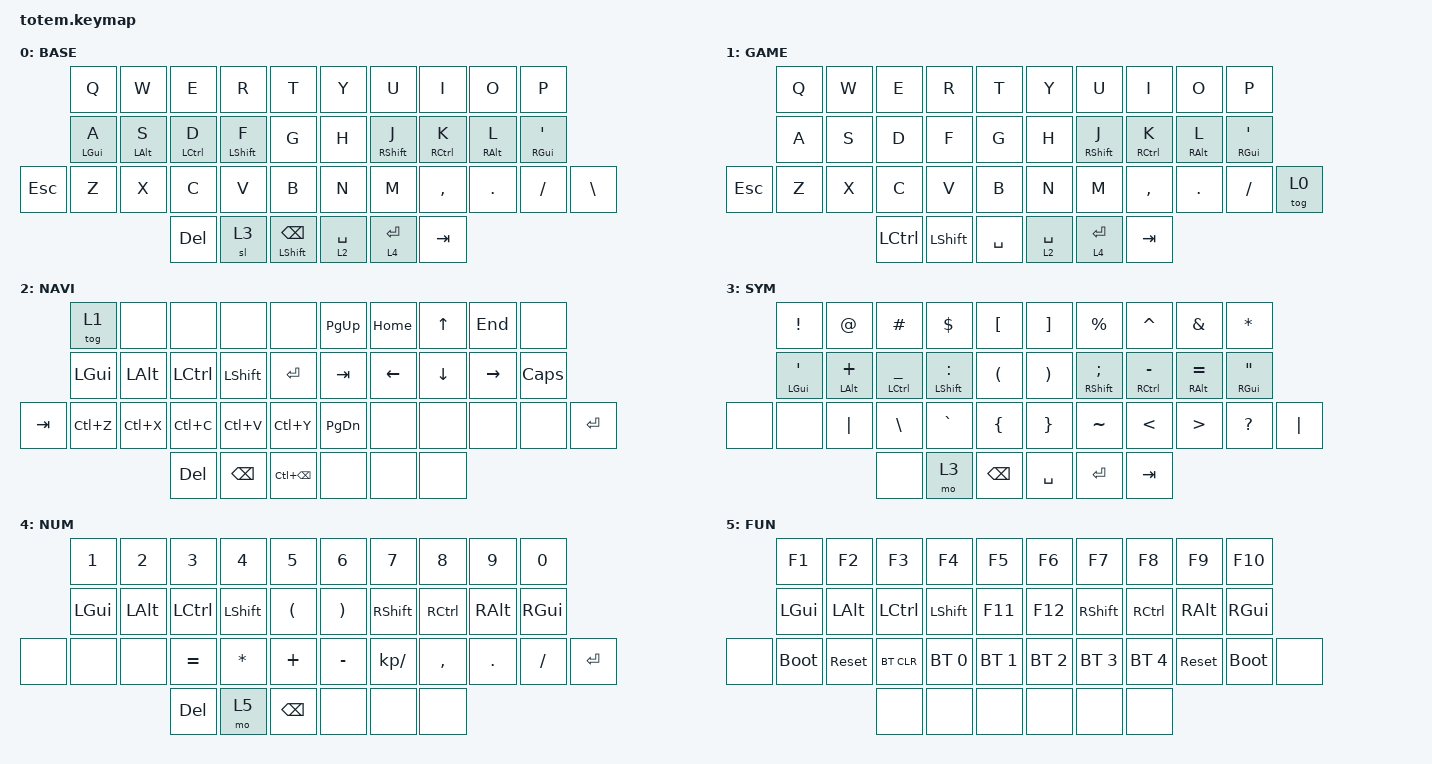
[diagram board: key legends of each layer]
//
//                                                        ▀▀▀▀▀     ▀▀▀▀▀          ▀▀█▀▀
//                                                        ▄▀▀▀▄  ▄  ▄▀▀▀▄  ▄  ▄▀▀▀▄  █  ▄▀▀▀▄
//                                                        █   █  █  █   █  █  █   █  █  █   █
//                                                         ▀▀▀   █   ▀▀▀   █   ▀▀▀   ▀   ▀▀▀
//                                                               █      ▄▄▄█▄▄▄    █   █  
//                                                               ▀      █  █  █     █▄█
//                                                             ▀▀▀▀▀    █  █  █      ▀
//                                                                      ▀  ▀  ▀
//
// ▄▄▄▄▄▄▄▄▄▄▄▄▄▄▄▄▄▄▄▄▄▄▄▄▄▄▄▄▄▄▄▄▄▄▄▄▄▄▄▄▄▄▄▄▄▄▄▄▄▄▄▄▄▄▄▄▄▄▄▄▄▄▄▄▄▄▄▄▄▄▄▄▄▄▄▄▄▄▄▄▄▄▄▄▄▄▄▄▄▄▄▄▄▄▄▄▄▄▄▄▄▄▄▄▄▄▄▄▄▄▄▄▄▄▄▄▄▄▄▄▄▄▄▄▄▄▄▄▄▄▄▄▄▄▄▄▄▄▄▄▄▄▄▄▄▄▄▄▄

#include <behaviors.dtsi>
#include <dt-bindings/zmk/bt.h>
#include <dt-bindings/zmk/keys.h>

#define BASE 0
#define NAV  1
#define SYM  2
#define ADJ  3
#define TVP1 4
#define TVP2 5

&lt {
    quick-tap-ms = <150>;
    flavor = "balanced";
    tapping-term-ms = <250>;
};

/ {
    combos { compatible = "zmk,combos"; };

    behaviors {
        left_hrm: left_hrm {
            compatible = "zmk,behavior-hold-tap";
            label = "LEFT_HRM";
            bindings = <&kp>, <&kp>;

            #binding-cells = <2>;
            tapping-term-ms = <280>;
            quick-tap-ms = <175>;
            require-prior-idle-ms = <200>;
            flavor = "balanced";
            hold-trigger-key-positions = <32 33 34 35 36 37 5 6 7 8 9 15 16 17 18 19 26 27 28 29 30 31 35 36 37>;
            hold-trigger-on-release;
        };

        right_hrm: right_hrm {
            compatible = "zmk,behavior-hold-tap";
            label = "RIGHT_HRM";
            bindings = <&kp>, <&kp>;

            #binding-cells = <2>;
            tapping-term-ms = <280>;
            quick-tap-ms = <175>;
            require-prior-idle-ms = <200>;
            flavor = "balanced";
            hold-trigger-on-release;
            hold-trigger-key-positions = <32 33 34 35 36 37 0 1 2 3 4 10 11 12 13 14 22 23 24 25 21 20>;
        };
    };

    keymap {
        compatible = "zmk,keymap";

        // ▄▄▄▄▄▄▄▄▄▄▄▄▄▄▄▄▄▄▄▄▄▄▄▄▄▄▄▄▄▄▄▄▄▄▄▄▄▄▄▄▄▄▄▄▄▄▄▄▄▄▄▄▄▄▄▄▄▄▄▄▄▄▄▄▄▄▄▄▄▄▄▄▄▄▄▄▄▄▄▄▄▄▄▄▄▄▄▄▄▄▄▄▄▄▄▄▄▄▄▄▄▄▄▄▄▄▄▄▄▄▄▄▄▄▄▄▄▄▄▄▄▄▄▄▄▄▄▄▄▄▄▄▄▄▄▄▄▄▄▄▄▄▄▄▄▄▄▄▄

        base_layer {
            // ┏━━━━━━━━━━━━━━━━━━━━━━━━━━━━━━━━━━━━━━━┓

            label = "BASE";

            // ┗━━━━━━━━━━━━━━━━━━━━━━━━━━━━━━━━━━━━━━━┛
            //             ┏━━━━━━━━━━━┳━━━━━━━━━━━┳━━━━━━━━━━━┳━━━━━━━━━━━┳━━━━━━━━━━━┓   ┏━━━━━━━━━━━┳━━━━━━━━━━━┳━━━━━━━━━━━┳━━━━━━━━━━━┳━━━━━━━━━━━┓
            //             ┃     Q     ┃     W     ┃     F     ┃     P     ┃     G     ┃   ┃     J     ┃     L     ┃     U     ┃     Y     ┃     ;     ┃
            //             ┣━━━━━━━━━━━╋━━━━━━━━━━━╋━━━━━━━━━━━╋━━━━━━━━━━━╋━━━━━━━━━━━┫   ┣━━━━━━━━━━━╋━━━━━━━━━━━╋━━━━━━━━━━━╋━━━━━━━━━━━╋━━━━━━━━━━━┫
            //             ┃     A     ┃     R     ┃     S     ┃     T     ┃     D     ┃   ┃     H     ┃     N     ┃     E     ┃     I     ┃     O     ┃
            // ┏━━━━━━━━━━━╋━━━━━━━━━━━╋━━━━━━━━━━━╋━━━━━━━━━━━╋━━━━━━━━━━━╋━━━━━━━━━━━┫   ┣━━━━━━━━━━━╋━━━━━━━━━━━╋━━━━━━━━━━━╋━━━━━━━━━━━╋━━━━━━━━━━━╋━━━━━━━━━━━┓
            // ┃     Q     ┃     Z     ┃     X     ┃     C     ┃     V     ┃     B     ┃   ┃     K     ┃     M     ┃     ,     ┃     .     ┃     /     ┃     \     ┃
            // ┗━━━━━━━━━━━┻━━━━━━━━━━━┻━━━━━━━━━━━╋━━━━━━━━━━━╋━━━━━━━━━━━╋━━━━━━━━━━━┫   ┣━━━━━━━━━━━╋━━━━━━━━━━━╋━━━━━━━━━━━╋━━━━━━━━━━━┻━━━━━━━━━━━┻━━━━━━━━━━━┛
            //                                     ┃    DEL    ┃    TAB    ┃    SPC    ┃   ┃   ENTER   ┃           ┃   BSPC    ┃
            //                                     ┗━━━━━━━━━━━┻━━━━━━━━━━━┻━━━━━━━━━━━┛   ┗━━━━━━━━━━━┻━━━━━━━━━━━┻━━━━━━━━━━━┛

            bindings = <
            &kp Q             &kp W             &kp E              &kp R              &kp T                       &kp Y        &kp U               &kp I               &kp O              &kp P
            &left_hrm LGUI A  &left_hrm LALT S  &left_hrm LCTRL D  &left_hrm LSHFT F  &kp G                       &kp H        &right_hrm RSHFT J  &right_hrm RCTRL K  &right_hrm RALT L  &right_hrm RGUI SQT
&kp ESCAPE  &kp Z             &kp X             &kp C              &kp V              &kp B                       &kp N        &kp M               &kp COMMA           &kp DOT            &kp FSLH             &kp BSLH
                                                &kp DEL            &sl 3              &mt LEFT_SHIFT BACKSPACE    &lt 2 SPACE  &lt 4 ENTER         &kp TAB
            >;
        };

        gaming {
            label = "GAME";
            bindings = <
            &kp Q  &kp W  &kp E      &kp R      &kp T        &kp Y        &kp U               &kp I               &kp O              &kp P
            &kp A  &kp S  &kp D      &kp F      &kp G        &kp H        &right_hrm RSHFT J  &right_hrm RCTRL K  &right_hrm RALT L  &right_hrm RGUI SQT
&kp ESCAPE  &kp Z  &kp X  &kp C      &kp V      &kp B        &kp N        &kp M               &kp COMMA           &kp DOT            &kp FSLH             &tog 0
                          &kp LCTRL  &kp LSHFT  &kp SPACE    &lt 2 SPACE  &lt 4 ENTER         &kp TAB
            >;
        };

        nav_layer {
            // ┏━━━━━━━━━━━━━━━━━━━━━━━━━━━━━━━━━━━━━━━┓

            label = "NAVI";

            // ┗━━━━━━━━━━━━━━━━━━━━━━━━━━━━━━━━━━━━━━━┛
            //             ┏━━━━━━━━━━━┳━━━━━━━━━━━┳━━━━━━━━━━━┳━━━━━━━━━━━┳━━━━━━━━━━━┓   ┏━━━━━━━━━━━┳━━━━━━━━━━━┳━━━━━━━━━━━┳━━━━━━━━━━━┳━━━━━━━━━━━┓
            //             ┃           ┃           ┃     UP    ┃           ┃     {     ┃   ┃     }     ┃     7     ┃     8     ┃     9     ┃     +     ┃
            //             ┣━━━━━━━━━━━╋━━━━━━━━━━━╋━━━━━━━━━━━╋━━━━━━━━━━━╋━━━━━━━━━━━┫   ┣━━━━━━━━━━━╋━━━━━━━━━━━╋━━━━━━━━━━━╋━━━━━━━━━━━╋━━━━━━━━━━━┫
            //             ┃   SHIFT   ┃   LEFT    ┃    DOWN   ┃   RIGHT   ┃     [     ┃   ┃     ]     ┃     4     ┃     5     ┃     6     ┃     -     ┃
            // ┏━━━━━━━━━━━╋━━━━━━━━━━━╋━━━━━━━━━━━╋━━━━━━━━━━━╋━━━━━━━━━━━╋━━━━━━━━━━━┫   ┣━━━━━━━━━━━╋━━━━━━━━━━━╋━━━━━━━━━━━╋━━━━━━━━━━━╋━━━━━━━━━━━╋━━━━━━━━━━━┓
            // ┃           ┃           ┃   P UP    ┃  C LOCK   ┃  P DOWN   ┃     (     ┃   ┃     )     ┃     1     ┃     2     ┃     3     ┃     *     ┃           ┃
            // ┗━━━━━━━━━━━┻━━━━━━━━━━━┻━━━━━━━━━━━╋━━━━━━━━━━━╋━━━━━━━━━━━╋━━━━━━━━━━━┫   ┣━━━━━━━━━━━╋━━━━━━━━━━━╋━━━━━━━━━━━╋━━━━━━━━━━━┻━━━━━━━━━━━┻━━━━━━━━━━━┛
            //                                     ┃           ┃    TAB    ┃    SPC    ┃   ┃    DEL    ┃     0     ┃           ┃
            //                                     ┗━━━━━━━━━━━┻━━━━━━━━━━━┻━━━━━━━━━━━┛   ┗━━━━━━━━━━━┻━━━━━━━━━━━┻━━━━━━━━━━━┛

            bindings = <
         &tog 1        &none         &none       &none           &none                &kp PG_UP  &kp HOME  &kp UP_ARROW  &kp END    &none
         &kp LEFT_GUI  &kp LEFT_ALT  &kp LCTRL   &kp LEFT_SHIFT  &kp ENTER            &kp TAB    &kp LEFT  &kp DOWN      &kp RIGHT  &kp CAPS
&kp TAB  &kp LC(Z)     &kp LC(X)     &kp LC(C)   &kp LC(V)       &kp LC(Y)            &kp PG_DN  &none     &none         &none      &none     &kp ENTER
                                     &kp DELETE  &kp BACKSPACE   &kp LC(BACKSPACE)    &none      &none     &none
            >;
        };

        sim_layer {
            // ┏━━━━━━━━━━━━━━━━━━━━━━━━━━━━━━━━━━━━━━━┓

            label = "SYM";

            // ┗━━━━━━━━━━━━━━━━━━━━━━━━━━━━━━━━━━━━━━━┛
            //             ┏━━━━━━━━━━━┳━━━━━━━━━━━┳━━━━━━━━━━━┳━━━━━━━━━━━┳━━━━━━━━━━━┓   ┏━━━━━━━━━━━┳━━━━━━━━━━━┳━━━━━━━━━━━┳━━━━━━━━━━━┳━━━━━━━━━━━┓
            //             ┃     !     ┃     @     ┃     #     ┃     $     ┃     %     ┃   ┃     ˆ     ┃     &     ┃     Ü     ┃     '     ┃     "     ┃
            //             ┣━━━━━━━━━━━╋━━━━━━━━━━━╋━━━━━━━━━━━╋━━━━━━━━━━━╋━━━━━━━━━━━┫   ┣━━━━━━━━━━━╋━━━━━━━━━━━╋━━━━━━━━━━━╋━━━━━━━━━━━╋━━━━━━━━━━━┫
            //             ┃     Ä     ┃           ┃    SZ     ┃           ┃           ┃   ┃   MUTE    ┃   YEN     ┃   EURO    ┃  POUND    ┃     Ö     ┃
            // ┏━━━━━━━━━━━╋━━━━━━━━━━━╋━━━━━━━━━━━╋━━━━━━━━━━━╋━━━━━━━━━━━╋━━━━━━━━━━━┫   ┣━━━━━━━━━━━╋━━━━━━━━━━━╋━━━━━━━━━━━╋━━━━━━━━━━━╋━━━━━━━━━━━╋━━━━━━━━━━━┓
            // ┃           ┃  EMAIL1   ┃  EMAIL2   ┃           ┃           ┃           ┃   ┃   VOL-    ┃   VOL+    ┃   LAST    ┃   NEXT    ┃     \     ┃           ┃
            // ┗━━━━━━━━━━━┻━━━━━━━━━━━┻━━━━━━━━━━━╋━━━━━━━━━━━╋━━━━━━━━━━━╋━━━━━━━━━━━┫   ┣━━━━━━━━━━━╋━━━━━━━━━━━╋━━━━━━━━━━━╋━━━━━━━━━━━┻━━━━━━━━━━━┻━━━━━━━━━━━┛
            //                                     ┃           ┃    GIF    ┃    ADJ    ┃   ┃           ┃           ┃           ┃
            //                                     ┗━━━━━━━━━━━┻━━━━━━━━━━━┻━━━━━━━━━━━┛   ┗━━━━━━━━━━━┻━━━━━━━━━━━┻━━━━━━━━━━━┛

            bindings = <
       &kp EXCL                &kp AT                   &kp HASH                    &kp DLLR                    &kp LEFT_BRACKET        &kp RIGHT_BRACKET      &kp PERCENT                       &kp CARET               &kp AMPERSAND               &kp ASTERISK
       &left_hrm LEFT_GUI SQT  &left_hrm LEFT_ALT PLUS  &left_hrm LCTRL UNDERSCORE  &left_hrm LEFT_SHIFT COLON  &kp LEFT_PARENTHESIS    &kp RIGHT_PARENTHESIS  &right_hrm RIGHT_SHIFT SEMICOLON  &right_hrm RCTRL MINUS  &right_hrm RIGHT_ALT EQUAL  &right_hrm RIGHT_GUI DOUBLE_QUOTES
&none  &none                   &kp PIPE                 &kp BACKSLASH               &kp GRAVE                   &kp LEFT_BRACE          &kp RIGHT_BRACE        &kp TILDE                         &kp LESS_THAN           &kp GREATER_THAN            &kp QUESTION                        &kp PIPE
                                                        &none                       &mo 3                       &kp BACKSPACE           &kp SPACE              &kp ENTER                         &kp TAB
            >;
        };

        num_layer {
            // ┏━━━━━━━━━━━━━━━━━━━━━━━━━━━━━━━━━━━━━━━┓

            label = "NUM";

            // ┗━━━━━━━━━━━━━━━━━━━━━━━━━━━━━━━━━━━━━━━┛
            //             ┏━━━━━━━━━━━┳━━━━━━━━━━━┳━━━━━━━━━━━┳━━━━━━━━━━━┳━━━━━━━━━━━┓   ┏━━━━━━━━━━━┳━━━━━━━━━━━┳━━━━━━━━━━━┳━━━━━━━━━━━┳━━━━━━━━━━━┓
            //             ┃   RESET   ┃ BT CLEAR  ┃  OUT TOG  ┃           ┃           ┃   ┃           ┃    F7     ┃    F8     ┃    F9     ┃    F12    ┃
            //             ┣━━━━━━━━━━━╋━━━━━━━━━━━╋━━━━━━━━━━━╋━━━━━━━━━━━╋━━━━━━━━━━━┫   ┣━━━━━━━━━━━╋━━━━━━━━━━━╋━━━━━━━━━━━╋━━━━━━━━━━━╋━━━━━━━━━━━┫
            //             ┃ BOOTLOAD  ┃ BT NEXT   ┃           ┃           ┃           ┃   ┃           ┃    F4     ┃    F5     ┃    F6     ┃    F11    ┃
            // ┏━━━━━━━━━━━╋━━━━━━━━━━━╋━━━━━━━━━━━╋━━━━━━━━━━━╋━━━━━━━━━━━╋━━━━━━━━━━━┫   ┣━━━━━━━━━━━╋━━━━━━━━━━━╋━━━━━━━━━━━╋━━━━━━━━━━━╋━━━━━━━━━━━╋━━━━━━━━━━━┓
            // ┃           ┃           ┃ BT PREV   ┃           ┃           ┃           ┃   ┃           ┃    F1     ┃    F2     ┃    F3     ┃    F10    ┃           ┃
            // ┗━━━━━━━━━━━┻━━━━━━━━━━━┻━━━━━━━━━━━╋━━━━━━━━━━━╋━━━━━━━━━━━╋━━━━━━━━━━━┫   ┣━━━━━━━━━━━╋━━━━━━━━━━━╋━━━━━━━━━━━╋━━━━━━━━━━━┻━━━━━━━━━━━┻━━━━━━━━━━━┛
            //                                     ┃           ┃           ┃           ┃   ┃           ┃           ┃           ┃
            //                                     ┗━━━━━━━━━━━┻━━━━━━━━━━━┻━━━━━━━━━━━┛   ┗━━━━━━━━━━━┻━━━━━━━━━━━┻━━━━━━━━━━━┛

            bindings = <
       &kp NUMBER_1  &kp NUMBER_2  &kp N3     &kp N4     &kp N5                  &kp N6                 &kp N7         &kp N8     &kp N9    &kp N0
       &kp LGUI      &kp LALT      &kp LCTRL  &kp LSHFT  &kp LEFT_PARENTHESIS    &kp RIGHT_PARENTHESIS  &kp RSHFT      &kp RCTRL  &kp RALT  &kp RGUI
&none  &none         &none         &kp EQUAL  &kp ASTRK  &kp PLUS                &kp MINUS              &kp KP_DIVIDE  &kp COMMA  &kp DOT   &kp SLASH  &kp ENTER
                                   &kp DEL    &mo 5      &kp BACKSPACE           &none                  &none          &none
            >;
        };

        fun_layer {
            // ┏━━━━━━━━━━━━━━━━━━━━━━━━━━━━━━━━━━━━━━━┓

            label = "FUN";

            // ┗━━━━━━━━━━━━━━━━━━━━━━━━━━━━━━━━━━━━━━━┛
            //             ┏━━━━━━━━━━━┳━━━━━━━━━━━┳━━━━━━━━━━━┳━━━━━━━━━━━┳━━━━━━━━━━━┓   ┏━━━━━━━━━━━┳━━━━━━━━━━━┳━━━━━━━━━━━┳━━━━━━━━━━━┳━━━━━━━━━━━┓
            //             ┃ NEXT FILE ┃ MARK IN   ┃ ROTATE    ┃ MARK OUT  ┃ SHOW SNAP ┃   ┃           ┃           ┃           ┃           ┃           ┃
            //             ┣━━━━━━━━━━━╋━━━━━━━━━━━╋━━━━━━━━━━━╋━━━━━━━━━━━╋━━━━━━━━━━━┫   ┣━━━━━━━━━━━╋━━━━━━━━━━━╋━━━━━━━━━━━╋━━━━━━━━━━━╋━━━━━━━━━━━┫
            //             ┃ TVP II    ┃ LEFT      ┃ PAN       ┃ RIGHT     ┃ PLAY/FLIP ┃   ┃           ┃           ┃           ┃           ┃           ┃
            // ┏━━━━━━━━━━━╋━━━━━━━━━━━╋━━━━━━━━━━━╋━━━━━━━━━━━╋━━━━━━━━━━━╋━━━━━━━━━━━┫   ┣━━━━━━━━━━━╋━━━━━━━━━━━╋━━━━━━━━━━━╋━━━━━━━━━━━╋━━━━━━━━━━━╋━━━━━━━━━━━┓
            // ┃ FULLSCR   ┃ SHIFT     ┃ COPY      ┃ DELETE    ┃ PASTE     ┃ IMG MARK  ┃   ┃           ┃           ┃           ┃           ┃           ┃           ┃
            // ┗━━━━━━━━━━━┻━━━━━━━━━━━┻━━━━━━━━━━━╋━━━━━━━━━━━╋━━━━━━━━━━━╋━━━━━━━━━━━┫   ┣━━━━━━━━━━━╋━━━━━━━━━━━╋━━━━━━━━━━━╋━━━━━━━━━━━┻━━━━━━━━━━━┻━━━━━━━━━━━┛
            //                                     ┃           ┃ UNDO/SAVE ┃  SEL/MOV  ┃   ┃           ┃           ┃           ┃
            //                                     ┗━━━━━━━━━━━┻━━━━━━━━━━━┻━━━━━━━━━━━┛   ┗━━━━━━━━━━━┻━━━━━━━━━━━┻━━━━━━━━━━━┛

            bindings = <
       &kp F1       &kp F2      &kp F3      &kp F4        &kp F5          &kp F6        &kp F7        &kp F8        &kp F9      &kp F10
       &kp LGUI     &kp LALT    &kp LCTRL   &kp LSHFT     &kp F11         &kp F12       &kp RSHFT     &kp RCTRL     &kp RALT    &kp RGUI
&none  &bootloader  &sys_reset  &bt BT_CLR  &bt BT_SEL 0  &bt BT_SEL 1    &bt BT_SEL 2  &bt BT_SEL 3  &bt BT_SEL 4  &sys_reset  &bootloader  &none
                                &none       &none         &none           &none         &none         &none
            >;
        };

        // ▄▄▄▄▄▄▄▄▄▄▄▄▄▄▄▄▄▄▄▄▄▄▄▄▄▄▄▄▄▄▄▄▄▄▄▄▄▄▄▄▄▄▄▄▄▄▄▄▄▄▄▄▄▄▄▄▄▄▄▄▄▄▄▄▄▄▄▄▄▄▄▄▄▄▄▄▄▄▄▄▄▄▄▄▄▄▄▄▄▄▄▄▄▄▄▄▄▄▄▄▄▄▄▄▄▄▄▄▄▄▄▄▄▄▄▄▄▄▄▄▄▄▄▄▄▄▄▄▄▄▄▄▄▄▄▄▄▄▄▄▄▄▄▄▄▄▄▄▄
    };
};
